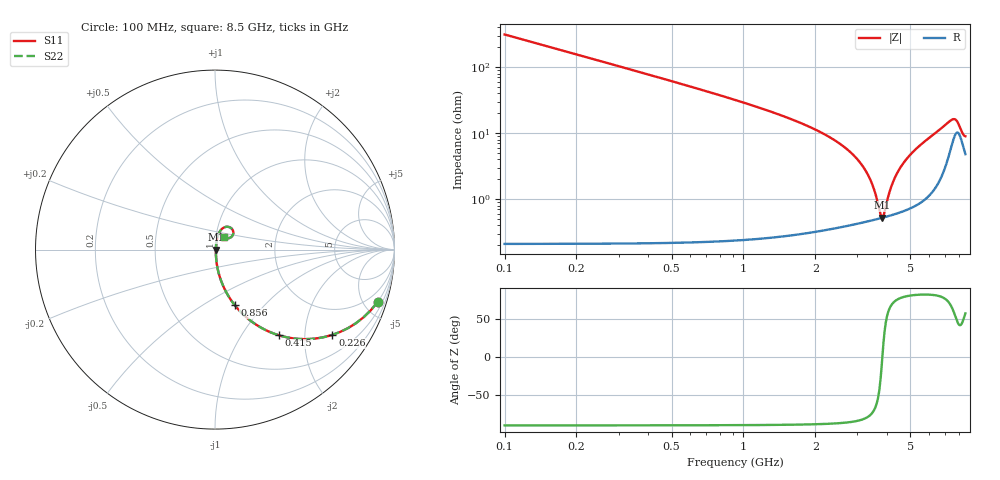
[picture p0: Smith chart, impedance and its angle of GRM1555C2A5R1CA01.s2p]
!Murata Part Number: GRM1555C2A5R1CA01
!These Parameters are Measured in Series Mode Connection
!Data Generated on Mar 30, 2021
!  o--ll--o
!Port1  Port2
!  o------o
!Operation Temp=25[degC], DC Bias Voltage=0[V]
!Freq. Start=100[MHz] Stop=9[GHz] 401[Steps]
# Hz S RI R 50
!Freq.(Hz) S11(Real) S11(Imag) S21(Real) S21(Imag) S12(Real) S12(Imag) S22(Real) S22(Imag)
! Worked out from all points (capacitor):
!   401 points, 100 MHz to 8.5 GHz, reference 50 ohm
!   read as one part in series: C = 5.1 pF near 142 MHz
!   lowest |Z| = 524 mohm at 3.817 GHz (marker M1)
!   series resonance near 3.816 GHz, so ESL is about 340 pH
!   S11 on the Smith chart (normalised r, x): 100 MHz: 1.00, -6.24; 226 MHz: 1.00, -2.75; 415 MHz: 1.00, -1.49; 856 MHz: 1.00, -0.69; 8.5 GHz: 1.10, +0.15
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1e8  0.9066 -0.2907  0.0934 0.2907  0.0934 0.2907  0.9066 -0.2907
2.26e8  0.6542 -0.4749  0.3458 0.4749  0.3458 0.4749  0.6542 -0.4749
4.15e8  0.3561 -0.4774  0.6439 0.4774  0.6439 0.4774  0.3561 -0.4774
6.04e8  0.2034 -0.4004  0.7966 0.4004  0.7966 0.4004  0.2034 -0.4004
8.56e8  0.1087 -0.3079  0.8913 0.3079  0.8913 0.3079  0.1087 -0.3079
1.507e9  0.0322 -0.1687  0.9678 0.1687  0.9678 0.1687  0.0322 -0.1687
2.41e9  0.00958 -0.077  0.9904 0.077  0.9904 0.077  0.00958 -0.077
2.914e9  0.00612 -0.0444  0.9939 0.0444  0.9939 0.0444  0.00612 -0.0444
3.187e9  0.00532 -0.0296  0.9947 0.0296  0.9947 0.0296  0.00532 -0.0296
3.397e9  0.00505 -0.0191  0.9949 0.0191  0.9949 0.0191  0.00505 -0.0191
3.565e9  0.00502 -0.0112  0.995 0.0112  0.995 0.0112  0.00502 -0.0112
3.754e9  0.00514 -0.0027  0.9949 0.0027  0.9949 0.0027  0.00514 -0.0027
3.817e9  0.00521 3.03e-05  0.9948 -3.03e-05  0.9948 -3.03e-05  0.00521 3.03e-05
3.88e9  0.0053 0.00272  0.9947 -0.00272  0.9947 -0.00272  0.0053 0.00272
4.111e9  0.00576 0.0123  0.9942 -0.0123  0.9942 -0.0123  0.00576 0.0123
4.3e9  0.00629 0.0198  0.9937 -0.0198  0.9937 -0.0198  0.00629 0.0198
4.846e9  0.00851 0.0404  0.9915 -0.0404  0.9915 -0.0404  0.00851 0.0404
5.707e9  0.0147 0.0713  0.9853 -0.0713  0.9853 -0.0713  0.0147 0.0713
7.114e9  0.0513 0.1237  0.9487 -0.1237  0.9487 -0.1237  0.0513 0.1237
7.702e9  0.099 0.1081  0.901 -0.1081  0.901 -0.1081  0.099 0.1081
8.269e9  0.0683 0.0629  0.9317 -0.0629  0.9317 -0.0629  0.0683 0.0629
8.5e9  0.0508 0.0685  0.9492 -0.0685  0.9492 -0.0685  0.0508 0.0685
